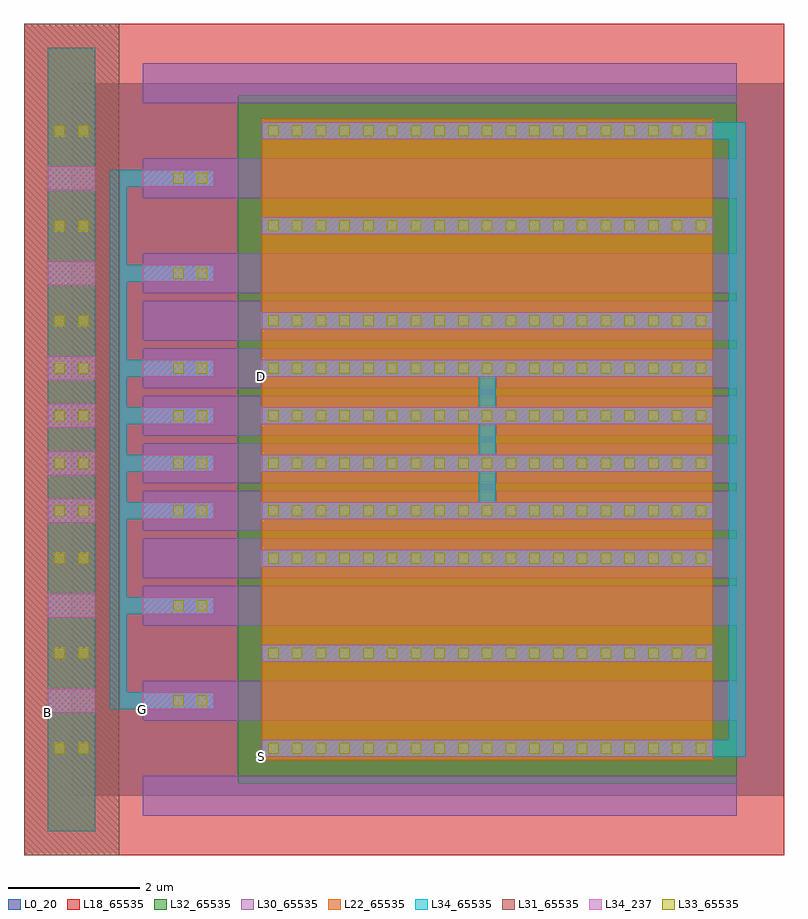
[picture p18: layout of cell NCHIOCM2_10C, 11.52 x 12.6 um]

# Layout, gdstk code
import gdstk
lib = gdstk.Library(unit=1e-6, precision=1e-09)
def R(c, l, rs):  # rectangles x0, y0, x1, y1
    for r in rs: c.add(gdstk.rectangle(r[:2], r[2:], *l))
def A(c, l, x, y, w, h, nx, ny, dx, dy):  # array of equal rectangles
    R(c, l, [(x+i*dx, y+j*dy, x+i*dx+w, y+j*dy+h) for i in range(nx) for j in range(ny)])
L0_20 = (0, 20)
L18_65535 = (18, 65535)
L22_65535 = (22, 65535)
L30_65535 = (30, 65535)
L31_65535 = (31, 65535)
L32_65535 = (32, 65535)
L33_65535 = (33, 65535)
L34_237 = (34, 237)
L34_65535 = (34, 65535)

nchio_10c = lib.new_cell('NCHIO_10C')
R(nchio_10c, L0_20, [(0,0,10.8,2.88)])
R(nchio_10c, L18_65535, [(-0.72,-0.9,10.8,3.78)])
A(nchio_10c, L22_65535, -0.36, -0.54, 0.72, 0.36, 1, 11, 0, 0.36)
A(nchio_10c, L22_65535, 2.88, 0.54, 6.84, 0.36, 1, 5, 0, 0.36)
A(nchio_10c, L30_65535, 1.08, -0.3, 9, 0.6, 1, 3, 0, 1.44)
R(nchio_10c, L31_65535, [(-0.72,-0.9,0.72,3.78)])
R(nchio_10c, L32_65535, [(2.52,0.18,10.08,2.7)])
A(nchio_10c, L33_65535, 2.98, 0.64, 0.16, 0.16, 19, 2, 0.36, 1.44)
R(nchio_10c, L33_65535, [(-0.26,0.64,-0.1,0.8), (0.1,0.64,0.26,0.8), (1.54,1.36,1.7,1.52), (1.9,1.36,2.06,1.52), (-0.26,2.08,-0.1,2.24), (0.1,2.08,0.26,2.24)])
R(nchio_10c, L34_237, [(2.88,0.59,9.72,0.85), (-0.36,1.26,0.36,1.62), (1.08,1.31,2.16,1.57), (2.88,2.03,9.72,2.29)])
A(nchio_10c, L34_65535, -0.36, -0.54, 0.72, 0.36, 1, 11, 0, 0.36)
R(nchio_10c, L34_65535, [(2.88,0.59,9.72,0.85), (1.08,1.31,2.16,1.57), (2.88,2.03,9.72,2.29)])
nchio_10c.add(gdstk.Label('G', (1.08,1.31), layer=34, texttype=237))
nchio_10c.add(gdstk.Label('S', (2.88,0.59), layer=34, texttype=237))
nchio_10c.add(gdstk.Label('B', (-0.36,1.26), layer=34, texttype=237))
nchio_10c.add(gdstk.Label('D', (2.88,2.03), layer=34, texttype=237))

nchiocm_10c = lib.new_cell('NCHIOCM_10C')
R(nchiocm_10c, L0_20, [(0,0,10.8,7.2)])
R(nchiocm_10c, L34_237, [(2.88,0.59,9.72,0.85), (1.08,1.31,2.16,1.57), (2.88,6.35,9.72,6.61)])
A(nchiocm_10c, L34_65535, 0.58, 1.31, 1.04, 0.26, 1, 4, 0, 1.44)
R(nchiocm_10c, L34_65535, [(0.58,1.31,0.84,5.89)])
nchiocm_10c.add(gdstk.Reference(nchio_10c, (0,0)))
nchiocm_10c.add(gdstk.Reference(nchio_10c, (0,1.44)))
nchiocm_10c.add(gdstk.Reference(nchio_10c, (0,2.88)))
nchiocm_10c.add(gdstk.Reference(nchio_10c, (0,4.32)))
nchiocm_10c.add(gdstk.Label('G', (1.08,1.31), layer=58, texttype=65535))
nchiocm_10c.add(gdstk.Label('D', (2.88,6.35), layer=34, texttype=237))
nchiocm_10c.add(gdstk.Label('G', (1.08,1.31), layer=34, texttype=237))
nchiocm_10c.add(gdstk.Label('S', (2.88,0.59), layer=34, texttype=237))

nchiocm2_10c = lib.new_cell('NCHIOCM2_10C')
R(nchiocm2_10c, L0_20, [(0,0,10.8,10.8)])
R(nchiocm2_10c, L34_237, [(2.88,0.59,9.72,0.85), (-0.36,1.26,0.36,1.62), (1.08,1.31,2.16,1.57), (2.88,6.35,9.72,6.61)])
R(nchiocm2_10c, L34_65535, [(6.3,0.59,9.96,0.85), (9.96,0.59,10.22,10.21), (0.58,1.31,1.62,1.57), (0.58,1.31,0.84,5.17), (6.17,4.19,6.43,6.61), (0.58,4.91,1.62,5.17), (6.3,9.95,9.96,10.21)])
nchiocm2_10c.add(gdstk.Reference(nchiocm_10c, (0,0)))
nchiocm2_10c.add(gdstk.Reference(nchiocm_10c, (0,3.6)))
nchiocm2_10c.add(gdstk.Label('S', (2.88,0.59), layer=58, texttype=65535))
nchiocm2_10c.add(gdstk.Label('G', (1.08,1.31), layer=58, texttype=65535))
nchiocm2_10c.add(gdstk.Label('D', (2.88,6.35), layer=58, texttype=65535))
nchiocm2_10c.add(gdstk.Label('B', (-0.36,1.26), layer=34, texttype=237))
nchiocm2_10c.add(gdstk.Label('D', (2.88,6.35), layer=34, texttype=237))
nchiocm2_10c.add(gdstk.Label('G', (1.08,1.31), layer=34, texttype=237))
nchiocm2_10c.add(gdstk.Label('S', (2.88,0.59), layer=34, texttype=237))

lib.write_gds('NCHIOCM2_10C.gds')
